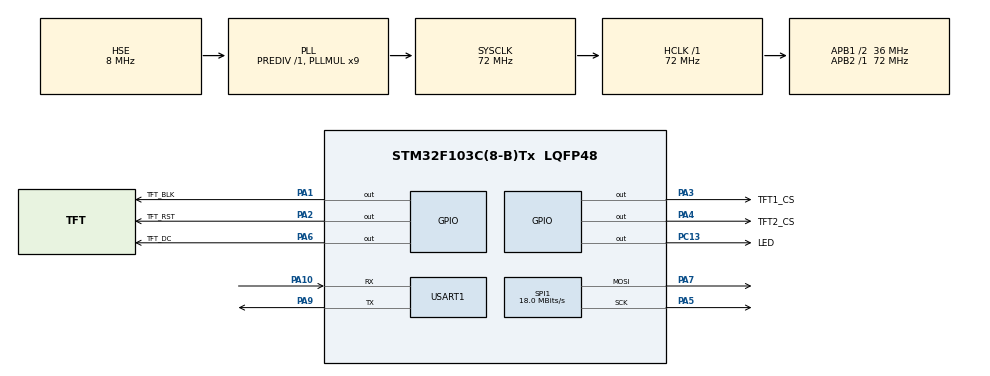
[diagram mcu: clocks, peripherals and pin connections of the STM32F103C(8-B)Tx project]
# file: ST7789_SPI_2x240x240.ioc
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Dma.MEMTOMEM.0.Direction=DMA_MEMORY_TO_MEMORY
Dma.MEMTOMEM.0.Instance=DMA1_Channel1
Dma.MEMTOMEM.0.MemDataAlignment=DMA_MDATAALIGN_BYTE
Dma.MEMTOMEM.0.MemInc=DMA_MINC_ENABLE
Dma.MEMTOMEM.0.Mode=DMA_NORMAL
Dma.MEMTOMEM.0.PeriphDataAlignment=DMA_PDATAALIGN_BYTE
Dma.MEMTOMEM.0.PeriphInc=DMA_PINC_ENABLE
Dma.MEMTOMEM.0.Priority=DMA_PRIORITY_LOW
Dma.Request0=MEMTOMEM
Mcu.Family=STM32F1
Mcu.Name=STM32F103C(8-B)Tx
Mcu.Package=LQFP48
NVIC.PriorityGroup=NVIC_PRIORITYGROUP_4
PA1.GPIO_Label=TFT_BLK
PA1.GPIO_PuPd=GPIO_PULLDOWN
PA1.Signal=GPIO_Output
PA10.Mode=Asynchronous
PA10.Signal=USART1_RX
PA13.Mode=Serial_Wire
PA13.Signal=SYS_JTMS-SWDIO
PA14.Mode=Serial_Wire
PA14.Signal=SYS_JTCK-SWCLK
PA2.GPIO_Label=TFT_RST
PA2.GPIO_PuPd=GPIO_PULLDOWN
PA2.Signal=GPIO_Output
PA3.GPIO_Label=TFT1_CS
PA3.GPIO_PuPd=GPIO_PULLUP
PA3.Signal=GPIO_Output
PA4.GPIO_Label=TFT2_CS
PA4.GPIO_PuPd=GPIO_PULLUP
PA4.Signal=GPIO_Output
PA5.Mode=TX_Only_Simplex_Unidirect_Master
PA5.Signal=SPI1_SCK
PA6.GPIO_Label=TFT_DC
PA6.GPIO_PuPd=GPIO_PULLDOWN
PA6.Signal=GPIO_Output
PA7.Mode=TX_Only_Simplex_Unidirect_Master
PA7.Signal=SPI1_MOSI
PA9.Mode=Asynchronous
PA9.Signal=USART1_TX
PC13-TAMPER-RTC.GPIO_Label=LED
PC13-TAMPER-RTC.GPIO_PuPd=GPIO_PULLDOWN
PC13-TAMPER-RTC.Signal=GPIO_Output
PC14-OSC32_IN.Mode=LSE-External-Oscillator
PC14-OSC32_IN.Signal=RCC_OSC32_IN
PC15-OSC32_OUT.Mode=LSE-External-Oscillator
PC15-OSC32_OUT.Signal=RCC_OSC32_OUT
PD0-OSC_IN.Mode=HSE-External-Oscillator
PD0-OSC_IN.Signal=RCC_OSC_IN
PD1-OSC_OUT.Mode=HSE-External-Oscillator
PD1-OSC_OUT.Signal=RCC_OSC_OUT
ProjectManager.HeapSize=0x200
ProjectManager.StackSize=0x400
ProjectManager.TargetToolchain=STM32CubeIDE
RCC.AHBFreq_Value=72000000
RCC.APB1CLKDivider=RCC_HCLK_DIV2
RCC.APB1Freq_Value=36000000
RCC.APB1TimFreq_Value=72000000
RCC.APB2Freq_Value=72000000
RCC.APB2TimFreq_Value=72000000
RCC.HCLKFreq_Value=72000000
RCC.PLLMUL=RCC_PLL_MUL9
RCC.PLLSourceVirtual=RCC_PLLSOURCE_HSE
RCC.SYSCLKFreq_VALUE=72000000
RCC.SYSCLKSource=RCC_SYSCLKSOURCE_PLLCLK
RCC.USBFreq_Value=72000000
SPI1.BaudRatePrescaler=SPI_BAUDRATEPRESCALER_4
SPI1.CLKPhase=SPI_PHASE_2EDGE
SPI1.CLKPolarity=SPI_POLARITY_HIGH
SPI1.CalculateBaudRate=18.0 MBits/s
SPI1.DataSize=SPI_DATASIZE_8BIT
SPI1.Direction=SPI_DIRECTION_2LINES
SPI1.Mode=SPI_MODE_MASTER
SPI1.VirtualType=VM_MASTER
TIM1.AutoReloadPreload=TIM_AUTORELOAD_PRELOAD_ENABLE
TIM1.Prescaler=7199
TIM1.TIM_MasterOutputTrigger=TIM_TRGO_RESET
USART1.VirtualMode=VM_ASYNC
VP_TIM1_VS_ClockSourceITR.Mode=TriggerSource_ITR0
board=custom

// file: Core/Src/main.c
/* USER CODE BEGIN Header */
/**
  ******************************************************************************
  * @file           : main.c
  * @brief          : Main program body
  ******************************************************************************
  * @attention
  *
  * Copyright (c) 2025 STMicroelectronics.
  * All rights reserved.
  *
  * This software is licensed under terms that can be found in the LICENSE file
  * in the root directory of this software component.
  * If no LICENSE file comes with this software, it is provided AS-IS.
  *
  ******************************************************************************
  */
/* USER CODE END Header */
#include "main.h"

/* USER CODE BEGIN Includes */
#include <stdio.h>
/* USER CODE END Includes */

/* USER CODE BEGIN PD */
#define TEXT_X 20
#define TEXT_Y 20
#define TEXT_Y_OFFSET 10
/* USER CODE END PD */

SPI_HandleTypeDef hspi1;

TIM_HandleTypeDef htim1;

UART_HandleTypeDef huart1;

DMA_HandleTypeDef hdma_memtomem_dma1_channel1;
/* USER CODE BEGIN PV */

uint16_t y_pos = TEXT_Y;

/* USER CODE END PV */

void SystemClock_Config(void);
static void MX_DMA_Init(void);
static void MX_GPIO_Init(void);
static void MX_SPI1_Init(void);
static void MX_TIM1_Init(void);
static void MX_USART1_UART_Init(void);
/* USER CODE BEGIN PFP */
void print_value(char*, uint16_t, uint16_t, uint16_t);
/* USER CODE END PFP */

int main(void)
{

  /* USER CODE BEGIN 1 */
  uint8_t c = 0;
  uint16_t tick = 0;
  uint16_t prev_tick = 0;

  uint16_t init_ticks = 0;
  uint16_t clear_ticks = 0;
  uint16_t hello_ticks =0;

  char* mess[] = { "INIT, ms: ", "CLEAR, ms: ", "PRINT HELLO!, ms: " };
  /* USER CODE END 1 */

  /* MCU Configuration--------------------------------------------------------*/

  /* Reset of all peripherals, Initializes the Flash interface and the Systick. */
  HAL_Init();

  /* Configure the system clock */
  SystemClock_Config();

  /* Initialize all configured peripherals */
  MX_DMA_Init();
  MX_GPIO_Init();
  MX_SPI1_Init();
  MX_TIM1_Init();
  MX_USART1_UART_Init();
  /* USER CODE BEGIN 2 */
//  HAL_GPIO_WritePin(GPIOA, TFT1_CS_Pin|TFT2_CS_Pin, GPIO_PIN_SET);
  //TIM1->CR1 = TIM_CR1_CEN;
  HAL_TIM_Base_Start(&htim1);
  prev_tick = __HAL_TIM_GET_COUNTER(&htim1);//TIM1->CNT;
  ST7789_init();
  tick = __HAL_TIM_GET_COUNTER(&htim1);//TIM1->CNT;
  init_ticks = (tick - prev_tick)/10;
  HAL_GPIO_WritePin(GPIOA, TFT_BLK_Pin, GPIO_PIN_SET);
  HAL_GPIO_WritePin(LED_GPIO_Port, LED_Pin, GPIO_PIN_SET);
  prev_tick = __HAL_TIM_GET_COUNTER(&htim1);//TIM1->CNT;
  ST7789_clear_screen(CS1_PIN_INDEX,YELLOW);
  tick = __HAL_TIM_GET_COUNTER(&htim1);//TIM1->CNT;
  clear_ticks = (tick - prev_tick)/10;
  ST7789_clear_screen(CS2_PIN_INDEX,WHITE);
  prev_tick = __HAL_TIM_GET_COUNTER(&htim1);//TIM1->CNT;
  ST7789_draw_string(20,y_pos,BLACK,"HELLO!");
  y_pos+=TEXT_Y_OFFSET;
  tick = __HAL_TIM_GET_COUNTER(&htim1); //TIM1->CNT;
  hello_ticks = (tick - prev_tick)/10;
  HAL_Delay(1000);
  print_value(mess[0], 22, init_ticks, BLACK);
  print_value(mess[1], 22, clear_ticks, BLACK);
  print_value(mess[2], 22, hello_ticks, BLACK);

  /* USER CODE END 2 */

  /* Infinite loop */
  /* USER CODE BEGIN WHILE */
  while (1)
  {
	  HAL_GPIO_TogglePin(LED_GPIO_Port, LED_Pin);
	  HAL_Delay(1000);
	  ST7789_clear_screen(CS2_PIN_INDEX, colors[c > 6 ? 0 : c + 1]);
	  ST7789_clear_screen(CS1_PIN_INDEX, colors[c]);
	  c++;
	  if (c>7) c=0;
    /* USER CODE END WHILE */

  }
}

void SystemClock_Config(void)
{
  RCC_OscInitTypeDef RCC_OscInitStruct = {0};
  RCC_ClkInitTypeDef RCC_ClkInitStruct = {0};

  /** Initializes the RCC Oscillators according to the specified parameters
  * in the RCC_OscInitTypeDef structure.
  */
  RCC_OscInitStruct.OscillatorType = RCC_OSCILLATORTYPE_HSE;
  RCC_OscInitStruct.HSEState = RCC_HSE_ON;
  RCC_OscInitStruct.HSEPredivValue = RCC_HSE_PREDIV_DIV1;
  RCC_OscInitStruct.HSIState = RCC_HSI_ON;
  RCC_OscInitStruct.PLL.PLLState = RCC_PLL_ON;
  RCC_OscInitStruct.PLL.PLLSource = RCC_PLLSOURCE_HSE;
  RCC_OscInitStruct.PLL.PLLMUL = RCC_PLL_MUL9;
  if (HAL_RCC_OscConfig(&RCC_OscInitStruct) != HAL_OK)
  {
    Error_Handler();
  }

  /** Initializes the CPU, AHB and APB buses clocks
  */
  RCC_ClkInitStruct.ClockType = RCC_CLOCKTYPE_HCLK|RCC_CLOCKTYPE_SYSCLK
                              |RCC_CLOCKTYPE_PCLK1|RCC_CLOCKTYPE_PCLK2;
  RCC_ClkInitStruct.SYSCLKSource = RCC_SYSCLKSOURCE_PLLCLK;
  RCC_ClkInitStruct.AHBCLKDivider = RCC_SYSCLK_DIV1;
  RCC_ClkInitStruct.APB1CLKDivider = RCC_HCLK_DIV2;
  RCC_ClkInitStruct.APB2CLKDivider = RCC_HCLK_DIV1;

  if (HAL_RCC_ClockConfig(&RCC_ClkInitStruct, FLASH_LATENCY_2) != HAL_OK)
  {
    Error_Handler();
  }
}

static void MX_SPI1_Init(void)
{

  /* SPI1 parameter configuration*/
  hspi1.Instance = SPI1;
  hspi1.Init.Mode = SPI_MODE_MASTER;
  hspi1.Init.Direction = SPI_DIRECTION_2LINES;
  hspi1.Init.DataSize = SPI_DATASIZE_8BIT;
  hspi1.Init.CLKPolarity = SPI_POLARITY_HIGH;
  hspi1.Init.CLKPhase = SPI_PHASE_2EDGE;
  hspi1.Init.NSS = SPI_NSS_SOFT;
  hspi1.Init.BaudRatePrescaler = SPI_BAUDRATEPRESCALER_4;
  hspi1.Init.FirstBit = SPI_FIRSTBIT_MSB;
  hspi1.Init.TIMode = SPI_TIMODE_DISABLE;
  hspi1.Init.CRCCalculation = SPI_CRCCALCULATION_DISABLE;
  hspi1.Init.CRCPolynomial = 10;
  if (HAL_SPI_Init(&hspi1) != HAL_OK)
  {
    Error_Handler();
  }

}

static void MX_TIM1_Init(void)
{

  TIM_SlaveConfigTypeDef sSlaveConfig = {0};
  TIM_MasterConfigTypeDef sMasterConfig = {0};

  htim1.Instance = TIM1;
  htim1.Init.Prescaler = 7199;
  htim1.Init.CounterMode = TIM_COUNTERMODE_UP;
  htim1.Init.Period = 65535;
  htim1.Init.ClockDivision = TIM_CLOCKDIVISION_DIV1;
  htim1.Init.RepetitionCounter = 0;
  htim1.Init.AutoReloadPreload = TIM_AUTORELOAD_PRELOAD_ENABLE;
  if (HAL_TIM_Base_Init(&htim1) != HAL_OK)
  {
    Error_Handler();
  }
  sSlaveConfig.SlaveMode = TIM_SLAVEMODE_DISABLE;
  sSlaveConfig.InputTrigger = TIM_TS_ITR0;
  if (HAL_TIM_SlaveConfigSynchro(&htim1, &sSlaveConfig) != HAL_OK)
  {
    Error_Handler();
  }
  sMasterConfig.MasterOutputTrigger = TIM_TRGO_RESET;
  sMasterConfig.MasterSlaveMode = TIM_MASTERSLAVEMODE_DISABLE;
  if (HAL_TIMEx_MasterConfigSynchronization(&htim1, &sMasterConfig) != HAL_OK)
  {
    Error_Handler();
  }

}

static void MX_USART1_UART_Init(void)
{

  huart1.Instance = USART1;
  huart1.Init.BaudRate = 115200;
  huart1.Init.WordLength = UART_WORDLENGTH_8B;
  huart1.Init.StopBits = UART_STOPBITS_1;
  huart1.Init.Parity = UART_PARITY_NONE;
  huart1.Init.Mode = UART_MODE_TX_RX;
  huart1.Init.HwFlowCtl = UART_HWCONTROL_NONE;
  huart1.Init.OverSampling = UART_OVERSAMPLING_16;
  if (HAL_UART_Init(&huart1) != HAL_OK)
  {
    Error_Handler();
  }

}

static void MX_DMA_Init(void)
{

  /* DMA controller clock enable */
  __HAL_RCC_DMA1_CLK_ENABLE();

  /* Configure DMA request hdma_memtomem_dma1_channel1 on DMA1_Channel1 */
  hdma_memtomem_dma1_channel1.Instance = DMA1_Channel1;
  hdma_memtomem_dma1_channel1.Init.Direction = DMA_MEMORY_TO_MEMORY;
  hdma_memtomem_dma1_channel1.Init.PeriphInc = DMA_PINC_ENABLE;
  hdma_memtomem_dma1_channel1.Init.MemInc = DMA_MINC_ENABLE;
  hdma_memtomem_dma1_channel1.Init.PeriphDataAlignment = DMA_PDATAALIGN_BYTE;
  hdma_memtomem_dma1_channel1.Init.MemDataAlignment = DMA_MDATAALIGN_BYTE;
  hdma_memtomem_dma1_channel1.Init.Mode = DMA_NORMAL;
  hdma_memtomem_dma1_channel1.Init.Priority = DMA_PRIORITY_LOW;
  if (HAL_DMA_Init(&hdma_memtomem_dma1_channel1) != HAL_OK)
  {
    Error_Handler( );
  }

}

static void MX_GPIO_Init(void)
{
  GPIO_InitTypeDef GPIO_InitStruct = {0};

  /* GPIO Ports Clock Enable */
  __HAL_RCC_GPIOC_CLK_ENABLE();
  __HAL_RCC_GPIOD_CLK_ENABLE();
  __HAL_RCC_GPIOA_CLK_ENABLE();

  /*Configure GPIO pin Output Level */
  HAL_GPIO_WritePin(LED_GPIO_Port, LED_Pin, GPIO_PIN_RESET);

  /*Configure GPIO pin Output Level */
  HAL_GPIO_WritePin(GPIOA, TFT_BLK_Pin|TFT_RST_Pin|TFT1_CS_Pin|TFT2_CS_Pin
                          |TFT_DC_Pin, GPIO_PIN_RESET);

  /*Configure GPIO pin : LED_Pin */
  GPIO_InitStruct.Pin = LED_Pin;
  GPIO_InitStruct.Mode = GPIO_MODE_OUTPUT_PP;
  GPIO_InitStruct.Pull = GPIO_PULLDOWN;
  GPIO_InitStruct.Speed = GPIO_SPEED_FREQ_LOW;
  HAL_GPIO_Init(LED_GPIO_Port, &GPIO_InitStruct);

  /*Configure GPIO pins : TFT_BLK_Pin TFT_RST_Pin TFT_DC_Pin */
  GPIO_InitStruct.Pin = TFT_BLK_Pin|TFT_RST_Pin|TFT_DC_Pin;
  GPIO_InitStruct.Mode = GPIO_MODE_OUTPUT_PP;
  GPIO_InitStruct.Pull = GPIO_PULLDOWN;
  GPIO_InitStruct.Speed = GPIO_SPEED_FREQ_LOW;
  HAL_GPIO_Init(GPIOA, &GPIO_InitStruct);

  /*Configure GPIO pins : TFT1_CS_Pin TFT2_CS_Pin */
  GPIO_InitStruct.Pin = TFT1_CS_Pin|TFT2_CS_Pin;
  GPIO_InitStruct.Mode = GPIO_MODE_OUTPUT_PP;
  GPIO_InitStruct.Pull = GPIO_PULLUP;
  GPIO_InitStruct.Speed = GPIO_SPEED_FREQ_LOW;
  HAL_GPIO_Init(GPIOA, &GPIO_InitStruct);

}

/* USER CODE BEGIN 4 */
// Use snprintf for safety
void print_value(char* str, uint16_t str_length, uint16_t value, uint16_t color) {
    char value_str[6];
    uint16_t x_pos = TEXT_X;
    snprintf(value_str, 6, "%d", value);
    if (str) ST7789_draw_string(x_pos, y_pos, color, str);
    x_pos += str_length * 5;
    ST7789_draw_string(x_pos, y_pos, color, value_str);
    y_pos += TEXT_Y_OFFSET;
    if (y_pos >= (LCD_HEIGHT - TEXT_Y)) y_pos = TEXT_Y;

}
/* USER CODE END 4 */

void Error_Handler(void)
{
  __disable_irq();
  while (1)
  {
  }
}
